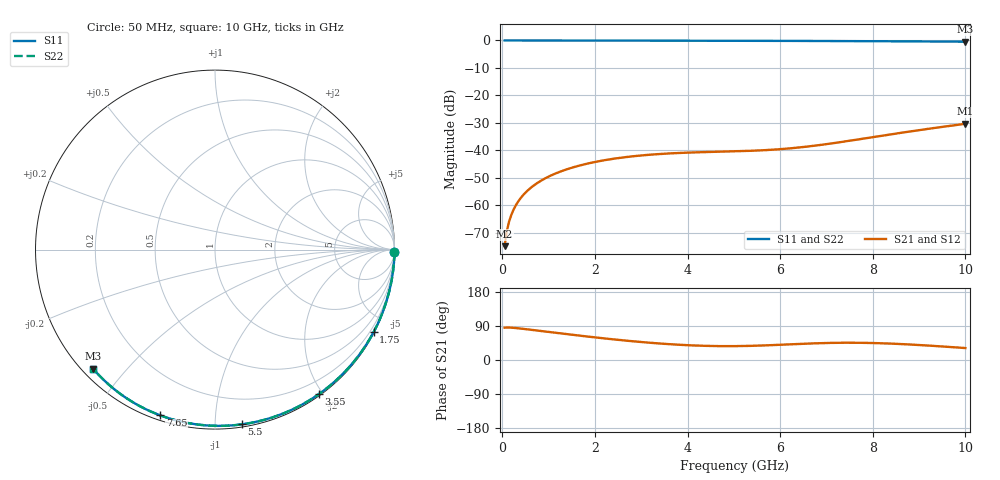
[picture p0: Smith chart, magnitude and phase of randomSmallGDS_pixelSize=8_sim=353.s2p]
! freq	dB(S11)	phase(S11)	dB(S12)	phase(S12)
!  dB(S21)	phase(S21)	dB(S22)	phase(S22)
!S-par simulation data
#  GHz  S  DB  R 50
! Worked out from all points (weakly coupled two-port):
!   200 points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, 50 MHz to 10 GHz, reference 50 ohm
!   highest |S21| = -30.35 dB at 10 GHz (marker M1); lowest = -74.9 dB at 50 MHz (marker M2)
!   lowest |S11| = -0.4 dB at 10 GHz (marker M3), VSWR 38.62, Z = 1.51 - j20.3 ohm
!   |S11| at or under -10 dB: nowhere
!   |S22| runs from -0.4 to 0.0 dB; largest |S21 - S12| = 0
!   S11 on the Smith chart (normalised r, x): 50 MHz: open; 1.75 GHz: 0.04, -4.09; 3.55 GHz: 0.02, -1.95; 5.5 GHz: 0.02, -1.16; 7.65 GHz: 0.02, -0.72; 10 GHz: 0.03, -0.41
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0.05  -0.00 -0.8  -74.90 85.3  -74.90 85.3  -0.00 -0.8
0.1  -0.00 -1.6  -69.18 85.7  -69.18 85.7  -0.00 -1.6
0.15  -0.00 -2.4  -65.75 85.7  -65.75 85.7  -0.00 -2.4
0.2  -0.00 -3.2  -63.29 85.3  -63.29 85.3  -0.00 -3.2
0.25  -0.00 -4.0  -61.37 84.8  -61.37 84.8  -0.00 -4.0
0.35  -0.00 -5.6  -58.47 83.6  -58.47 83.6  -0.00 -5.6
0.5  -0.01 -8.0  -55.41 81.5  -55.41 81.5  -0.01 -8.0
0.7  -0.01 -11.1  -52.55 78.6  -52.55 78.6  -0.01 -11.1
1  -0.02 -15.8  -49.57 74.1  -49.57 74.1  -0.02 -15.8
1.35  -0.03 -21.3  -47.16 68.9  -47.16 68.9  -0.03 -21.3
1.75  -0.04 -27.5  -45.20 63.2  -45.20 63.2  -0.04 -27.5
2.5  -0.05 -38.9  -42.83 53.2  -42.83 53.2  -0.05 -38.9
3.4  -0.07 -52.2  -41.34 43.5  -41.34 43.5  -0.07 -52.2
3.55  -0.07 -54.4  -41.19 42.2  -41.19 42.2  -0.07 -54.4
4.3  -0.09 -65.0  -40.68 37.6  -40.68 37.6  -0.09 -65.0
5.05  -0.11 -75.3  -40.35 36.6  -40.35 36.6  -0.11 -75.3
5.5  -0.13 -81.3  -40.08 37.8  -40.08 37.8  -0.13 -81.3
6.7  -0.19 -96.7  -38.41 43.8  -38.41 43.8  -0.19 -96.7
7.65  -0.24 -108.3  -36.13 45.5  -36.13 45.5  -0.24 -108.3
8.35  -0.29 -116.7  -34.29 43.5  -34.29 43.5  -0.29 -116.7
9.2  -0.37 -126.6  -32.17 38.1  -32.17 38.1  -0.37 -126.6
10  -0.45 -135.8  -30.35 31.5  -30.35 31.5  -0.45 -135.7
